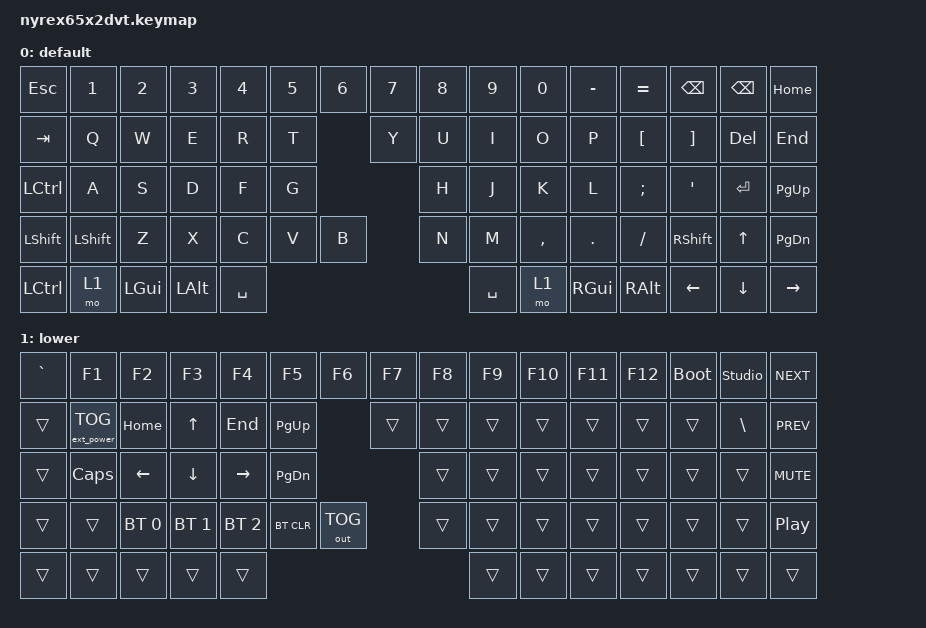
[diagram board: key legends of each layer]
/*
 * Copyright (c) 2020 The ZMK Contributors
 *
 * SPDX-License-Identifier: MIT
 */

#include <behaviors.dtsi>
#include <dt-bindings/zmk/keys.h>
#include <dt-bindings/zmk/bt.h>
#include <dt-bindings/zmk/outputs.h>
//#include <dt-bindings/zmk/rgb.h>
#include <dt-bindings/zmk/ext_power.h>

/ {
    keymap {
        compatible = "zmk,keymap";

        default_layer {
            display-name = "default";
            bindings = <
&kp ESC     &kp N1          &kp N2          &kp N3              &kp N4      &kp N5      &kp N6      &kp N7  &kp N8  &kp N9      &kp N0      &kp MINUS   &kp EQUAL   &kp BSPC    &kp BSPC    &kp HOME
&kp TAB     &kp Q           &kp W           &kp E               &kp R       &kp T                   &kp Y   &kp U   &kp I       &kp O       &kp P       &kp LBKT    &kp RBKT    &kp DEL     &kp END
&kp LCTRL   &kp A           &kp S           &kp D               &kp F       &kp G                           &kp H   &kp J       &kp K       &kp L       &kp SEMI    &kp SQT     &kp ENTER   &kp PG_UP
&kp LSHFT   &kp LSHFT       &kp Z           &kp X               &kp C       &kp V       &kp B               &kp N   &kp M       &kp COMMA   &kp DOT     &kp FSLH    &kp RSHFT   &kp UP      &kp PG_DN
&kp LCTRL   &mo 1           &kp LGUI        &kp LALT            &kp SPACE                                           &kp SPACE   &mo 1       &kp RGUI    &kp RALT    &kp LEFT    &kp DOWN    &kp RIGHT
            >;
        };

        lower_layer {
            display-name = "lower";
            bindings = <
&kp GRAVE   &kp F1          &kp F2          &kp F3              &kp F4          &kp F5      &kp F6      &kp F7  &kp F8  &kp F9      &kp F10     &kp F11     &kp F12     &bootloader      &studio_unlock      &kp C_NEXT
&trans      &ext_power EP_TOG  &kp HOME        &kp UP              &kp END         &kp PG_UP               &trans  &trans  &trans      &trans      &trans      &trans      &trans      &kp BSLH    &kp C_PREV 
&trans      &kp CAPS        &kp LEFT        &kp DOWN            &kp RIGHT       &kp PG_DN                       &trans  &trans      &trans      &trans      &trans      &trans      &trans      &kp C_MUTE
&trans      &trans          &bt BT_SEL 0    &bt BT_SEL 1        &bt BT_SEL 2    &bt BT_CLR  &out OUT_TOG        &trans  &trans      &trans      &trans      &trans      &trans      &trans      &kp C_PP
&trans      &trans          &trans          &trans              &trans                                          &trans      &trans      &trans      &trans      &trans      &trans      &trans 
            >;
        };

        extra1{
            status = "reserved";
        };

        extra2{
            status = "reserved";
        };
        
        extra3{
            status = "reserved";
        };

        extra4{
            status = "reserved";
        };
        
        extra5{
            status = "reserved";
        };
    };
};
